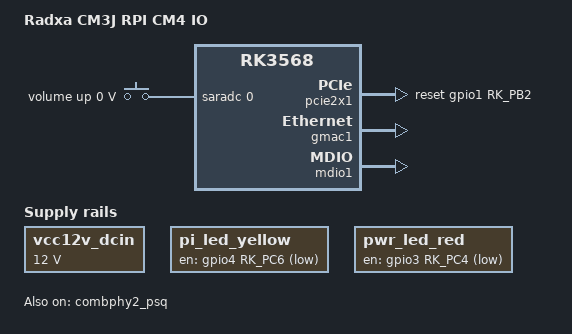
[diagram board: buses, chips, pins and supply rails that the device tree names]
/*
 * SPDX-License-Identifier:     GPL-2.0+
 * Copyright (c) 2020 Rockchip Electronics Co., Ltd.
 * Copyright (c) 2024 Radxa Limited
 */

/dts-v1/;
#include "rk3568-radxa-cm3j.dtsi"

/ {
	model = "Radxa CM3J RPI CM4 IO";
	compatible = "radxa,cm3j-rpi-cm4-io", "radxa,cm3j", "rockchip,rk3568";

	vcc12v_dcin: vcc12v-dcin {
		u-boot,dm-pre-reloc;
		compatible = "regulator-fixed";
		regulator-name = "dc_12v";
		regulator-always-on;
		regulator-boot-on;
		regulator-min-microvolt = <12000000>;
		regulator-max-microvolt = <12000000>;
	};

	adc-keys {
		compatible = "adc-keys";
		io-channels = <&saradc 0>;
		io-channel-names = "buttons";
		keyup-threshold-microvolt = <1800000>;
		u-boot,dm-spl;
		status = "okay";

		volumeup-key {
			u-boot,dm-spl;
			linux,code = <KEY_VOLUMEUP>;
			label = "volume up";
			press-threshold-microvolt = <9>;
		};
	};

	pi_led_yellow: pi-led-yellow {
		u-boot,dm-pre-reloc;
		compatible = "regulator-fixed";
		regulator-name = "pi_led_yellow";
		gpio = <&gpio4 RK_PC6 GPIO_ACTIVE_LOW>;
		regulator-boot-on;
		regulator-always-on;
	};

	pwr_led_red: pwr-led-red {
		u-boot,dm-pre-reloc;
		compatible = "regulator-fixed";
		regulator-name = "pwr_led_red";
		gpio = <&gpio3 RK_PC4 GPIO_ACTIVE_LOW>;
		regulator-boot-on;
		regulator-always-on;
	};
};

&gpio3 {
	u-boot,dm-pre-reloc;
	status = "okay";
};

&gpio4 {
	u-boot,dm-pre-reloc;
	status = "okay";
};


&vcc5v0_sys {
	vin-supply = <&vcc12v_dcin>;
};

&gpio1 {
	u-boot,dm-pre-reloc;
};

&combphy2_psq {
	u-boot,dm-pre-reloc;
	status = "okay";
};

&pcie2x1 {
	u-boot,dm-pre-reloc;
	reset-gpios = <&gpio1 RK_PB2 GPIO_ACTIVE_HIGH>;
	pinctrl-0 = <&pcie20m1_pins>;
	status = "okay";
};

&gmac1 {
	status = "okay";
};

&mdio1 {
	status = "okay";
};
